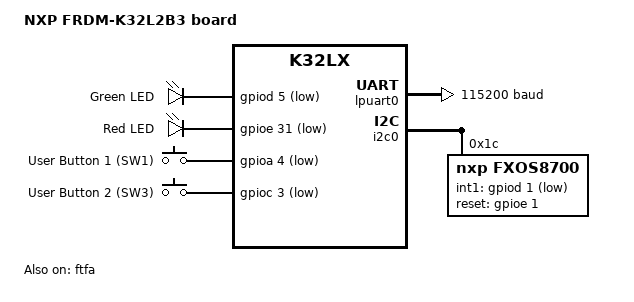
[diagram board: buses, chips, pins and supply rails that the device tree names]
/*
 * Copyright (c) 2025 Ishraq Ibne Ashraf <ishraq.i.ashraf@gmail.com>
 *
 * SPDX-License-Identifier: Apache-2.0
 */

/dts-v1/;

#include <nxp/nxp_k32l2b3.dtsi>
#include <zephyr/dt-bindings/input/input-event-codes.h>

#include "frdm_k32l2b3-pinctrl.dtsi"

/ {
	model = "NXP FRDM-K32L2B3 board";
	compatible = "nxp,k32l2b3", "nxp,k32lx";

	aliases {
		led0 = &led_green;
		led1 = &led_red;
		sw0 = &sw_1;
		sw1 = &sw_3;
		magn0 = &fxos8700;
		accel0 = &fxos8700;
	};

	chosen {
		zephyr,sram = &sram0;
		zephyr,flash = &flash0;
		zephyr,console = &lpuart0;
		zephyr,shell-uart = &lpuart0;
	};

	leds {
		compatible = "gpio-leds";

		led_green: led_1 {
			label = "Green LED";
			gpios = <&gpiod 5 GPIO_ACTIVE_LOW>;
		};

		led_red: led_2 {
			label = "Red LED";
			gpios = <&gpioe 31 GPIO_ACTIVE_LOW>;
		};
	};

	gpio_keys {
		compatible = "gpio-keys";

		sw_1: button_1 {
			label = "User Button 1 (SW1)";
			zephyr,code = <INPUT_KEY_0>;
			gpios = <&gpioa 4 GPIO_ACTIVE_LOW>;
		};

		sw_3: button_2 {
			label = "User Button 2 (SW3)";
			zephyr,code = <INPUT_KEY_1>;
			gpios = <&gpioc 3 GPIO_ACTIVE_LOW>;
		};
	};
};

&cpu0 {
	clock-frequency = <DT_FREQ_M(48)>;
};

&sim {
	er32k-select = <KINETIS_SIM_ER32KSEL_OSC32KCLK>;
	pllfll-select = <KINETIS_SIM_PLLFLLSEL_MCGPLLCLK>;
};

&osc {
	mode = "low-power";
	clock-frequency = <32768>;
};

&ftfa {
	status = "okay";
};

&gpioa {
	status = "okay";
};

&gpiob {
	status = "okay";
};

&gpioc {
	status = "okay";
};

&gpiod {
	status = "okay";
};

&gpioe {
	status = "okay";
};

&lpuart0 {
	status = "okay";
	current-speed = <115200>;
	pinctrl-0 = <&lpuart0_default>;
	pinctrl-names = "default";
};

&i2c0 {
	status = "okay";
	pinctrl-0 = <&i2c0_default>;
	pinctrl-names = "default";

	fxos8700: fxos8700@1c {
		compatible = "nxp,fxos8700";
		reg = <0x1c>;
		int1-gpios = <&gpiod 1 GPIO_ACTIVE_LOW>;
		reset-gpios = <&gpioe 1 GPIO_ACTIVE_HIGH>;
	};
};
